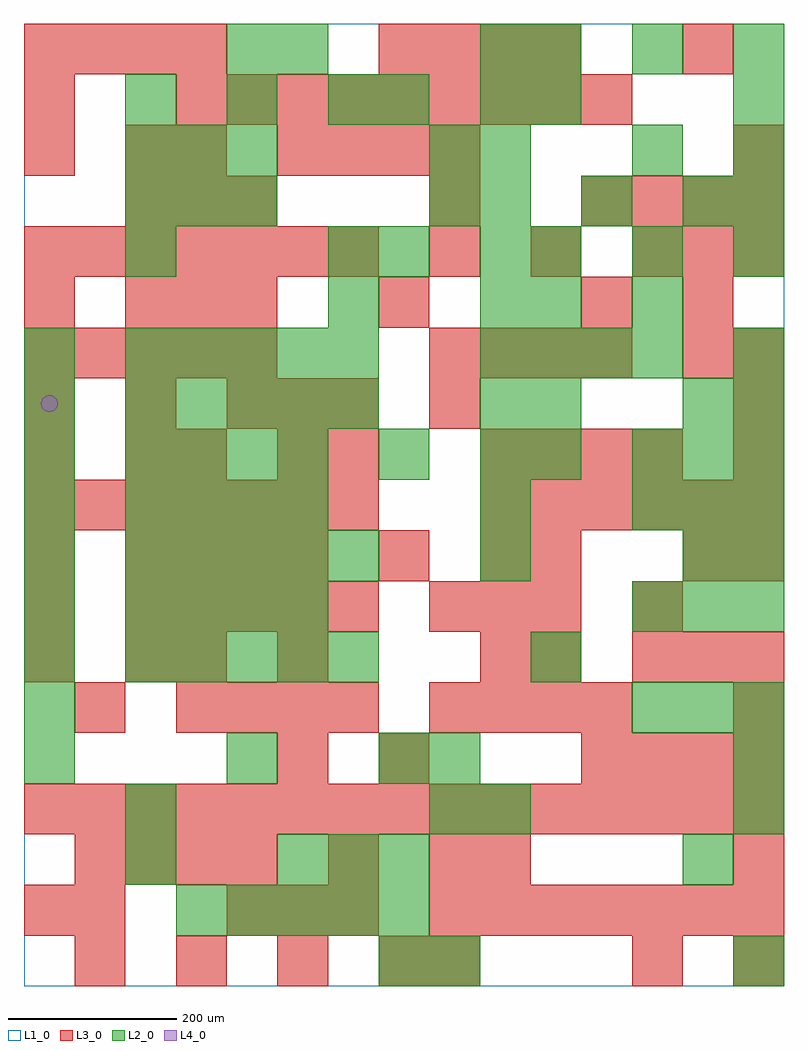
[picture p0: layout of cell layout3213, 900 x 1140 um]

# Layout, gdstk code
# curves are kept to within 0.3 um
import gdstk
lib = gdstk.Library(unit=1e-6, precision=1e-09)
def R(c, l, rs):  # rectangles x0, y0, x1, y1
    for r in rs: c.add(gdstk.rectangle(r[:2], r[2:], *l))
def A(c, l, x, y, w, h, nx, ny, dx, dy):  # array of equal rectangles
    R(c, l, [(x+i*dx, y+j*dy, x+i*dx+w, y+j*dy+h) for i in range(nx) for j in range(ny)])
def P(c, l, *ps):  # polygons
    for p in ps: c.add(gdstk.Polygon(p, *l))
L1_0 = (1, 0)
L2_0 = (2, 0)
L3_0 = (3, 0)
L4_0 = (4, 0)

layout3213 = lib.new_cell('layout3213')
R(layout3213, L1_0, [(0,0,900,1140)])
A(layout3213, L2_0, 180, 60, 60, 60, 5, 1, 60, 0)
A(layout3213, L2_0, 300, 120, 60, 60, 3, 1, 60, 0)
A(layout3213, L2_0, 0, 240, 60, 60, 1, 9, 0, 60)
A(layout3213, L2_0, 720, 300, 60, 60, 3, 3, 60, 120)
A(layout3213, L2_0, 120, 360, 60, 60, 5, 2, 60, 120)
A(layout3213, L2_0, 120, 420, 60, 60, 4, 2, 60, 120)
A(layout3213, L2_0, 540, 480, 60, 60, 1, 4, 0, 60)
A(layout3213, L2_0, 120, 600, 60, 60, 4, 1, 60, 0)
A(layout3213, L2_0, 720, 600, 60, 60, 3, 1, 60, 0)
A(layout3213, L2_0, 120, 660, 60, 60, 5, 2, 60, 60)
A(layout3213, L2_0, 540, 720, 60, 60, 4, 1, 60, 0)
A(layout3213, L2_0, 600, 840, 60, 60, 3, 2, 120, 240)
A(layout3213, L2_0, 120, 900, 60, 60, 3, 2, 60, 60)
A(layout3213, L2_0, 540, 900, 60, 60, 3, 1, 120, 0)
A(layout3213, L2_0, 840, 900, 60, 60, 1, 3, 0, 60)
A(layout3213, L2_0, 540, 960, 60, 60, 1, 3, 0, 60)
A(layout3213, L2_0, 120, 1020, 60, 60, 3, 1, 120, 0)
R(layout3213, L2_0, [(420,0,480,60), (480,0,540,60), (840,0,900,60), (120,120,180,180), (780,120,840,180), (120,180,180,240), (480,180,540,240), (540,180,600,240), (840,180,900,240), (240,240,300,300), (420,240,480,300), (480,240,540,300), (840,240,900,300), (600,360,660,420), (780,480,840,540), (840,480,900,540), (420,600,480,660), (600,600,660,660), (600,660,660,720), (780,660,840,720), (840,660,900,720), (840,720,900,780), (360,780,420,840), (540,780,600,840), (600,780,660,840), (720,780,780,840), (120,840,180,900), (360,840,420,900), (420,840,480,900), (540,840,600,900), (480,900,540,960), (480,960,540,1020), (720,960,780,1020), (420,1020,480,1080), (600,1020,660,1080), (240,1080,300,1140), (300,1080,360,1140)])
A(layout3213, L3_0, 60, 0, 60, 60, 4, 1, 120, 0)
A(layout3213, L3_0, 240, 60, 60, 60, 3, 1, 60, 0)
A(layout3213, L3_0, 480, 60, 60, 60, 7, 1, 60, 0)
A(layout3213, L3_0, 60, 120, 60, 60, 4, 1, 60, 0)
A(layout3213, L3_0, 840, 120, 60, 60, 1, 3, 0, 180)
A(layout3213, L3_0, 0, 180, 60, 60, 15, 1, 60, 0)
A(layout3213, L3_0, 660, 240, 60, 60, 4, 2, 60, 660)
A(layout3213, L3_0, 180, 300, 60, 60, 4, 1, 60, 0)
A(layout3213, L3_0, 480, 300, 60, 60, 4, 2, 60, 420)
A(layout3213, L3_0, 0, 360, 60, 60, 1, 3, 0, 60)
A(layout3213, L3_0, 720, 360, 60, 60, 3, 1, 60, 0)
A(layout3213, L3_0, 120, 420, 60, 60, 5, 1, 60, 0)
A(layout3213, L3_0, 480, 420, 60, 60, 3, 1, 60, 0)
A(layout3213, L3_0, 120, 480, 60, 60, 4, 1, 60, 0)
A(layout3213, L3_0, 0, 540, 60, 60, 7, 2, 60, 300)
A(layout3213, L3_0, 540, 540, 60, 60, 6, 1, 60, 0)
A(layout3213, L3_0, 0, 600, 60, 60, 1, 3, 0, 180)
A(layout3213, L3_0, 540, 600, 60, 60, 4, 1, 60, 0)
A(layout3213, L3_0, 840, 600, 60, 60, 1, 3, 0, 60)
A(layout3213, L3_0, 0, 660, 60, 60, 3, 1, 120, 0)
A(layout3213, L3_0, 0, 720, 60, 60, 5, 1, 60, 0)
A(layout3213, L3_0, 780, 720, 60, 60, 1, 3, 0, 60)
A(layout3213, L3_0, 120, 780, 60, 60, 3, 2, 60, 120)
A(layout3213, L3_0, 480, 840, 60, 60, 3, 1, 120, 0)
A(layout3213, L3_0, 300, 960, 60, 60, 4, 1, 60, 0)
A(layout3213, L3_0, 180, 1020, 60, 60, 9, 1, 60, 0)
A(layout3213, L3_0, 0, 1080, 60, 60, 4, 1, 60, 0)
A(layout3213, L3_0, 420, 1080, 60, 60, 4, 1, 60, 0)
R(layout3213, L3_0, [(480,0,540,60), (720,0,780,60), (840,0,900,60), (0,60,60,120), (60,60,120,120), (360,120,420,180), (480,120,540,180), (540,120,600,180), (300,240,360,300), (420,240,480,300), (60,300,120,360), (120,360,180,420), (180,360,240,420), (300,360,360,420), (540,360,600,420), (600,360,660,420), (720,420,780,480), (420,480,480,540), (540,480,600,540), (600,480,660,540), (780,480,840,540), (120,600,180,660), (180,600,240,660), (300,600,360,660), (360,600,420,660), (300,660,360,720), (360,660,420,720), (480,660,540,720), (420,780,480,840), (660,780,720,840), (840,840,900,900), (480,900,540,960), (120,960,180,1020), (180,960,240,1020), (840,960,900,1020), (0,1020,60,1080), (780,1080,840,1140)])
P(layout3213, L4_0, [(40,690),(39.239,693.827),(37.071,697.071),(33.827,699.239),(30,700),(26.173,699.239),(22.929,697.071),(20.761,693.827),(20,690),(20.761,686.173),(22.929,682.929),(26.173,680.761),(30,680),(33.827,680.761),(37.071,682.929),(39.239,686.173)])

lib.write_gds('layout3213.gds')
